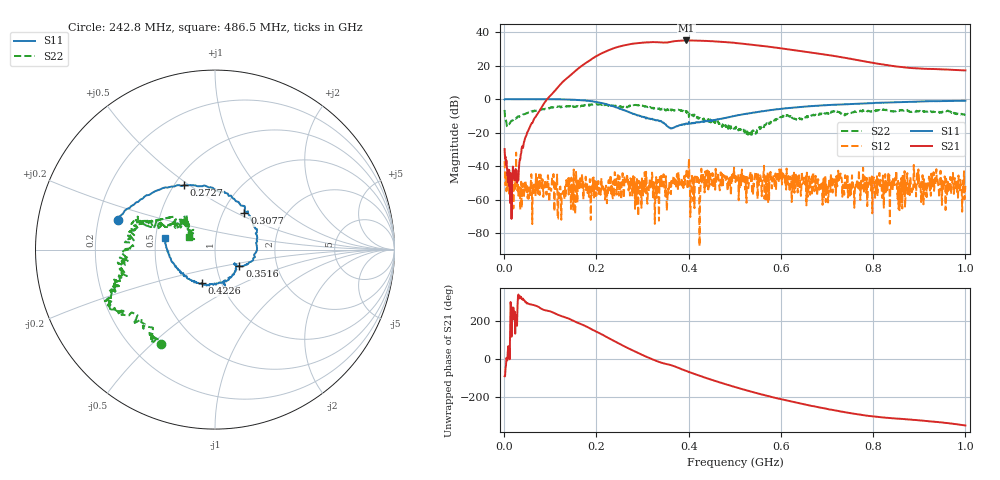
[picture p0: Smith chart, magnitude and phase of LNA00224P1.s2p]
! Created with skrf 1.9.0 (http://scikit-rf.org).
# Hz S RI R 50.0
!freq ReS11 ImS11 ReS21 ImS21 ReS12 ImS12 ReS22 ImS22
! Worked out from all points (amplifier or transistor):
!   1001 points, 1 MHz to 1 GHz, reference 50 ohm
!   highest |S21| = 35.1 dB at 394.6 MHz (marker M1)
!   |S21| within 3 dB of that: 259.3 MHz to 551.3 MHz (292 MHz wide, 72 % of centre)
!   unconditionally stable (mu >= 1): start of sweep to 89.82 MHz; 307.8 MHz to 400.2 MHz; 401.1 MHz to end of sweep (the widest 3 of 20)
!   at 166.8 MHz: K = 2.05, MAG = 29.7 dB, |S12| = -51.5 dB
!   at 500.5 MHz: K = 2.50, MAG = 34.3 dB, |S12| = -48.5 dB
!   at 1 GHz: K = 4.37, MAG = 25.2 dB, |S12| = -51.8 dB
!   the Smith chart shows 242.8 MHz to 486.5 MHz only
!   S11 on the Smith chart (normalised r, x): 242.8 MHz: 0.28, +0.14; 272.7 MHz: 0.56, +0.48; 307.7 MHz: 1.26, +0.55; 351.6 MHz: 1.29, -0.24; 422.6 MHz: 0.81, -0.32; 486.5 MHz: 0.56, +0.08
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1000000  0.9761 0.00474  0.000485 -0.0323  0.00262 0.0138  0.3848 0.2786
1.08892e8  0.5114 -0.8486  -0.8093 -1.513  0.000248 -0.00037  0.4302 -0.3797
1.67833e8  -0.2508 -0.8909  -9.818 -0.4853  -0.000621 -0.00221  0.0453 -0.643
2.09791e8  -0.6819 -0.3697  -15.38 16.78  -0.00164 0.000635  -0.1798 -0.6741
2.42758e8  -0.5402 0.1623  0.2478 34.86  0.000465 -0.00457  -0.3008 -0.5282
2.72728e8  -0.1726 0.3589  26.33 35.24  0.000844 0.00101  -0.5444 -0.3572
3.07693e8  0.1643 0.2052  48.12 11.87  0.00266 -0.00618  -0.5527 -0.2357
3.34666e8  0.2283 -0.0154  48.72 -11.48  -0.000445 0.00149  -0.5143 -0.078
3.51649e8  0.136 -0.0918  44.4 -21.24  -0.00202 -0.00046  -0.4719 0.0376
3.71629e8  0.1192 -0.0907  41.74 -34.81  -0.00256 0.0031  -0.4371 0.1289
3.94606e8  0.0712 -0.171  27.05 -49.74  -0.00127 0.0054  -0.4183 0.1428
4.22578e8  -0.0735 -0.1877  3.897 -55.57  0.00395 0.000272  -0.2385 0.1428
4.5055e8  -0.1975 -0.1152  -17.23 -51.28  0.0037 6.68e-05  -0.1501 0.153
4.86514e8  -0.2808 0.0642  -35.54 -34.68  0.00197 0.00186  -0.1475 0.0707
5.005e8  -0.2837 0.1407  -39.84 -26.77  -0.00124 0.00354  -0.1199 0.049
5.38462e8  -0.1985 0.3386  -41.81 -5.888  0.00217 0.000316  -0.1002 -0.0423
5.84416e8  0.00978 0.4826  -33.1 12.43  -0.00359 -0.00394  -0.2205 -0.0684
6.25375e8  0.2015 0.5186  -21.29 20.19  0.00306 -0.00429  -0.2377 -0.1256
6.67333e8  0.3953 0.4764  -10.25 22.01  -0.00132 0.000164  -0.3269 -0.0114
7.46254e8  0.6419 0.2939  3.188 16.06  -0.00132 0.00102  -0.3446 0.0779
8.34166e8  0.7896 0.026  6.304 8.021  0.000757 -0.00273  -0.3839 0.2102
1e9  0.7229 -0.5335  7.057 1.573  0.00216 0.00137  -0.0729 0.3235
